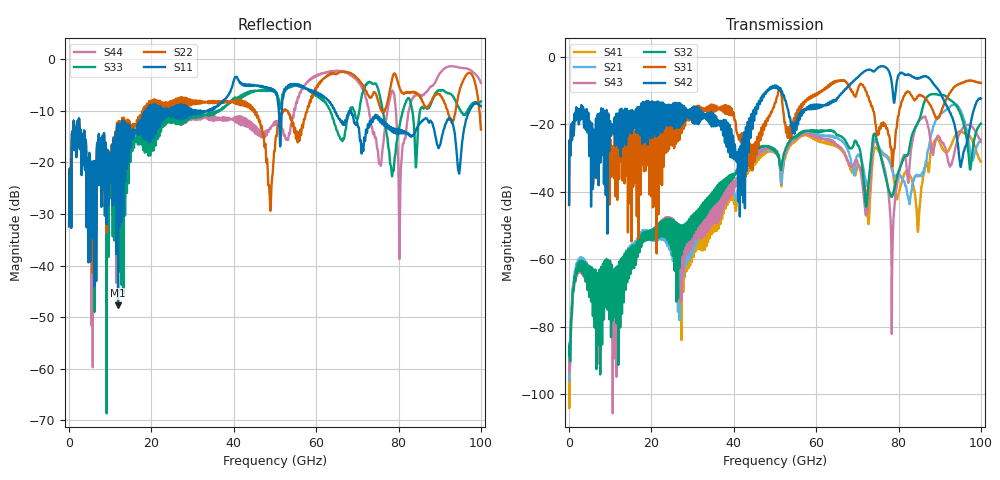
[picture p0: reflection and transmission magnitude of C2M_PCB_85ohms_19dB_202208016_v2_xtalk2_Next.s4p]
! Info: Touchstone file created by Circ.  Input file=Intel_C2M_200G_6p5in_202208016_staggered.circ
# Hz S RI R 50
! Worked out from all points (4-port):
!   10000 points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, 10 MHz to 100 GHz, reference 50 ohm
!   strongest paths, dB at 10 MHz, 25.01 GHz, 50.01 GHz, 75.01 GHz, 100 GHz:
!     S42: -43.8, -17.3, -9.0, -3.3, -12.4
!     S31: -44.0, -20.1, -13.7, -22.4, -7.8
!     S32: -87.0, -48.3, -27.5, -26.2, -19.9
!     S43: -90.8, -48.0, -27.5, -26.8, -25.3
!     S21: -96.1, -50.3, -27.7, -26.0, -24.6
!     S41: -94.5, -50.0, -27.9, -27.6, -31.1
!   lowest |S11| = -47.7 dB at 11.89 GHz (marker M1), VSWR 1.01, Z = 50.3 - j0.221 ohm
!   |S11| at or under -10 dB: start of sweep to 18.61 GHz; 31.88 GHz to 33.66 GHz (1.784 GHz wide, 5.44 % of centre); 64.48 GHz to 97.22 GHz (32.74 GHz wide, 40.5 % of centre)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
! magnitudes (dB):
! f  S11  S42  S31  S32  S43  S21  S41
! 10 MHz  -32.3  -43.8  -44.0  -87.0  -90.8  -96.1  -94.5
! 11.89 GHz  -47.7  -16.9  -21.8  -65.3  -68.6  -64.2  -66.4
! 56.65 GHz  -5.5  -16.1  -14.7  -22.3  -22.6  -22.3  -22.9
! 74.51 GHz  -11.0  -3.8  -20.5  -23.7  -25.2  -24.7  -26.9
! 78.42 GHz  -14.0  -8.4  -30.4  -41.5  -67.1  -33.6  -32.8
! 85.13 GHz  -12.5  -6.4  -11.4  -18.3  -18.8  -35.4  -44.6
! 100 GHz  -9.1  -12.4  -7.8  -19.9  -25.3  -24.6  -31.1
